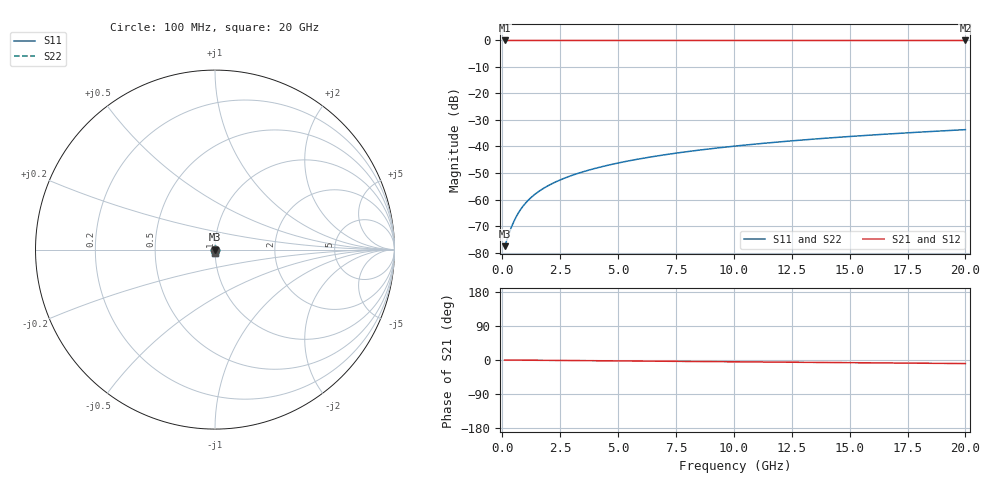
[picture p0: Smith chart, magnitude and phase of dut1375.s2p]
! Touchstone file exported from HFSS 2026.1.0
!  File:  C:/ffzhzh/LocalFiles/Ansys_Project_Files/temp_train_TSV_1375_1783196307_43440.aedt
!  Generated:  04:19:39 AM Jul  5, 2026
!  Design:  TSV
!  Project:  temp_train_TSV_1375_1783196307_43440
! Variables:
!  h_bsmrdl = 2um
!  h_ox = 20um
!  h_rdl = 5um
!  h_sub = 96.86um
!  h_tmrdl = 5um
!  h_tsv = 96.86um
!  h_via = 3um
!  l_bsmrdl = 300um
!  l_sub = 423.14um
!  l_tmrdl = 200um
!  m_sub = 200um
!  pitch = 41.26um
!  r_tsv = 11.57um
!  s_tmrdl = 10um
!  w_bsmrdl = 18um
!  w_sub = 500um
!  w_tmrdl = 12um
!  x_tsv_center1 = 206um
!  x_tsv_center2 = 524um
!  x_tsv_center3 = 736um
!  x_tsv_center4 = 1054um
!  x_tsv_center5 = 1266um
!  x_tsv_center6 = 1584um
# GHz S MA R 50.000000
! Terminal data exported
! Port[1] = TSV1_1_T1
! Port[2] = TSV1_1_T2
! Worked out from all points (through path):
!   200 points, 100 MHz to 20 GHz, reference 50 ohm
!   highest |S21| = 0.00 dB at 100 MHz (marker M1); lowest = 0.0 dB at 20 GHz (marker M2)
!   group delay of S21, straight-line fit = 1.3 ps
!   lowest |S11| = -77.6 dB at 100 MHz (marker M3), VSWR 1.00, Z = 50 - j0.00524 ohm
!   |S11| at or under -10 dB: start of sweep to end of sweep
!   |S22| runs from -77.6 to -33.6 dB; largest |S21 - S12| = 3.1e-15
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0.1  0.0001319 -23.4  0.9999 -0.0  0.9999 -0.0  0.0001319 -23.4
! Gamma 0 0 0 0
! Port Impedance 50 0 50 0
0.3  0.000234 -47.1  0.9998 -0.1  0.9998 -0.1  0.000234 -47.1
0.4  0.0003056 -52.5  0.9998 -0.2  0.9998 -0.2  0.0003056 -52.5
0.5  0.0003859 -56.2  0.9998 -0.2  0.9998 -0.2  0.0003859 -56.2
0.6  0.0004725 -59.1  0.9998 -0.3  0.9998 -0.3  0.0004725 -59.1
0.7  0.0005636 -61.6  0.9997 -0.3  0.9997 -0.3  0.0005636 -61.6
0.9  0.0007538 -65.5  0.9997 -0.4  0.9997 -0.4  0.0007538 -65.5
1.2  0.001048 -69.9  0.9996 -0.6  0.9996 -0.6  0.001048 -69.9
1.4  0.001247 -72.0  0.9996 -0.7  0.9996 -0.7  0.001247 -72.0
1.6  0.001445 -73.8  0.9996 -0.8  0.9996 -0.8  0.001445 -73.8
2.1  0.001943 -77.0  0.9995 -1.0  0.9995 -1.0  0.001943 -77.0
2.7  0.002542 -79.4  0.9995 -1.3  0.9995 -1.3  0.002542 -79.4
3.5  0.003348 -81.6  0.9994 -1.7  0.9994 -1.7  0.003348 -81.6
4.2  0.00406 -82.9  0.9993 -2.0  0.9993 -2.0  0.00406 -82.9
5  0.004882 -84.1  0.9993 -2.4  0.9993 -2.4  0.004882 -84.1
5.9  0.005815 -85.2  0.9992 -2.8  0.9992 -2.8  0.005815 -85.2
6.8  0.006755 -86.2  0.9992 -3.2  0.9992 -3.2  0.006755 -86.2
8.3  0.008333 -87.6  0.9991 -3.9  0.9991 -3.9  0.008333 -87.6
10.1  0.01024 -89.1  0.9989 -4.7  0.9989 -4.7  0.01024 -89.1
13.4  0.01374 -91.5  0.9988 -6.3  0.9988 -6.3  0.01374 -91.5
16.7  0.01725 -93.6  0.9986 -7.8  0.9986 -7.8  0.01725 -93.5
20  0.02079 -95.4  0.9984 -9.4  0.9984 -9.4  0.02079 -95.4
